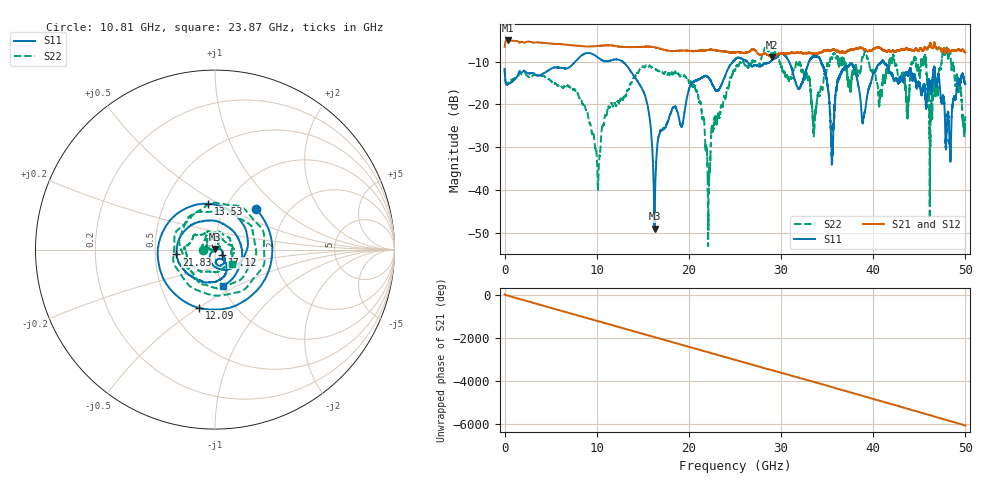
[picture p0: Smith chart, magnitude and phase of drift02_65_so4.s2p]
!Created with skrf (http://scikit-rf.org).
# Hz S RI R 50.0
!freq ReS11 ImS11 ReS21 ImS21 ReS12 ImS12 ReS22 ImS22
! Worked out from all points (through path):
!   10001 points, 300 kHz to 50 GHz, reference 50 ohm
!   highest |S21| = -5.05 dB at 325.3 MHz (marker M1); lowest = -8.9 dB at 28.98 GHz (marker M2)
!   group delay of S21, straight-line fit = 336 ps
!   lowest |S11| = -49.1 dB at 16.27 GHz (marker M3), VSWR 1.01, Z = 49.9 + j0.344 ohm
!   |S11| at or under -10 dB: start of sweep to 7.668 GHz; 12.81 GHz to 24.78 GHz (11.96 GHz wide, 63.7 % of centre); 41.14 GHz to end of sweep (the widest 3 of 12)
!   |S22| runs from -53.2 to -6.6 dB; largest |S21 - S12| = 0.029
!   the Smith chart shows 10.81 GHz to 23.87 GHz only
!   S11 on the Smith chart (normalised r, x): 10.81 GHz: 1.38, +0.70; 12.09 GHz: 0.69, -0.51; 13.53 GHz: 0.82, +0.45; 17.12 GHz: 1.08, -0.06; 21.83 GHz: 0.65, -0.04; 23.87 GHz: 1.00, -0.42
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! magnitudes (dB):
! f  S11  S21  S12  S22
! 300 kHz  -11.7  -6.5  -6.5  -11.7
! 325.3 MHz  -15.3  -5.0  -5.0  -15.1
! 8.335 GHz  -8.6  -6.4  -6.4  -19.1
! 10.11 GHz  -9.0  -6.3  -6.3  -39.0
! 10.81 GHz  -9.9  -6.2  -6.2  -23.6
! 12.09 GHz  -9.5  -6.4  -6.4  -20.4
! 13.53 GHz  -11.8  -6.6  -6.6  -16.0
! 16.27 GHz  -49.1  -6.6  -6.6  -11.7
! 16.67 GHz  -27.9  -6.8  -6.8  -12.1
! 17.12 GHz  -26.0  -7.1  -7.1  -12.4
! 21.83 GHz  -13.3  -7.3  -7.4  -30.9
! 23.87 GHz  -13.7  -7.6  -7.6  -18.3
! 25 GHz  -9.5  -7.8  -7.9  -12.0
! 28.98 GHz  -9.8  -8.9  -8.9  -8.0
! 33.34 GHz  -9.1  -8.0  -8.0  -20.2
! 35.54 GHz  -33.6  -7.3  -7.4  -9.2
! 36.79 GHz  -11.7  -7.9  -8.0  -9.5
! 41.67 GHz  -11.9  -7.4  -7.5  -11.8
! 45.5 GHz  -15.3  -7.0  -6.9  -9.7
! 46.25 GHz  -17.7  -6.1  -6.1  -21.0
! 48.13 GHz  -22.2  -7.1  -7.1  -9.0
! 50 GHz  -15.2  -7.9  -7.9  -22.8
